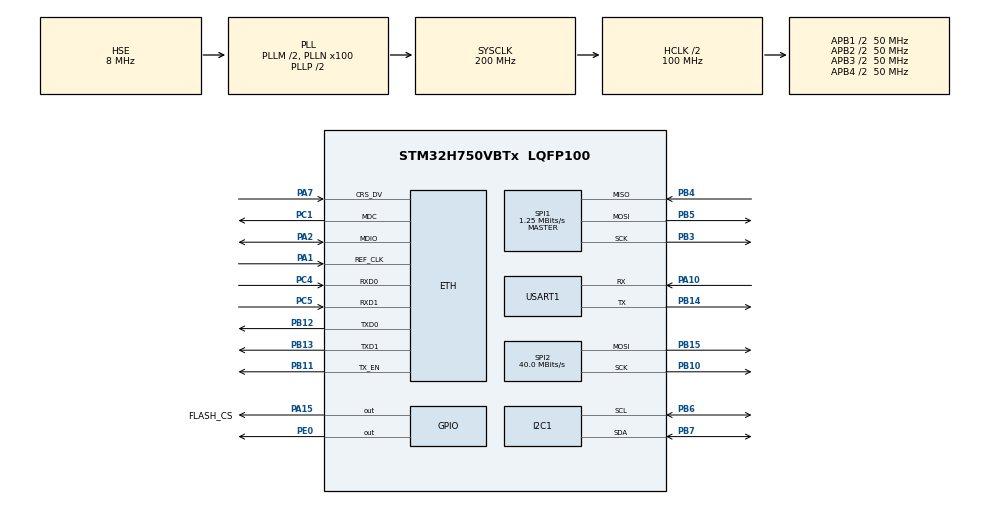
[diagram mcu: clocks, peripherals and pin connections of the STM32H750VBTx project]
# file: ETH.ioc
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CORTEX_M7.default_mode_Activation=1
ETH.MACAddr=00\:0C\:CD\:04\:03\:FF
ETH.MediaInterface=HAL_ETH_RMII_MODE
I2C1.Timing=0x00C0EAFF
Mcu.Family=STM32H7
Mcu.Name=STM32H750VBTx
Mcu.Package=LQFP100
NVIC.PriorityGroup=NVIC_PRIORITYGROUP_4
PA1.GPIO_Speed=GPIO_SPEED_FREQ_VERY_HIGH
PA1.Mode=RMII
PA1.Signal=ETH_REF_CLK
PA10.Mode=Asynchronous
PA10.Signal=USART1_RX
PA13\ (JTMS/SWDIO).Mode=Serial_Wire
PA13\ (JTMS/SWDIO).Signal=DEBUG_JTMS-SWDIO
PA14\ (JTCK/SWCLK).Mode=Serial_Wire
PA14\ (JTCK/SWCLK).Signal=DEBUG_JTCK-SWCLK
PA15\ (JTDI).GPIO_Label=FLASH_CS
PA15\ (JTDI).Signal=GPIO_Output
PA2.GPIO_Speed=GPIO_SPEED_FREQ_VERY_HIGH
PA2.Mode=RMII
PA2.Signal=ETH_MDIO
PA7.GPIO_Speed=GPIO_SPEED_FREQ_VERY_HIGH
PA7.Mode=RMII
PA7.Signal=ETH_CRS_DV
PB10.Mode=TX_Only_Simplex_Unidirect_Master
PB10.Signal=SPI2_SCK
PB11.GPIO_Speed=GPIO_SPEED_FREQ_VERY_HIGH
PB11.Mode=RMII
PB11.Signal=ETH_TX_EN
PB12.GPIO_Speed=GPIO_SPEED_FREQ_VERY_HIGH
PB12.Mode=RMII
PB12.Signal=ETH_TXD0
PB13.GPIO_Speed=GPIO_SPEED_FREQ_VERY_HIGH
PB13.Mode=RMII
PB13.Signal=ETH_TXD1
PB14.Mode=Asynchronous
PB14.Signal=USART1_TX
PB15.Mode=TX_Only_Simplex_Unidirect_Master
PB15.Signal=SPI2_MOSI
PB3\ (JTDO/TRACESWO).Mode=Full_Duplex_Master
PB3\ (JTDO/TRACESWO).Signal=SPI1_SCK
PB4\ (NJTRST).Mode=Full_Duplex_Master
PB4\ (NJTRST).Signal=SPI1_MISO
PB5.Mode=Full_Duplex_Master
PB5.Signal=SPI1_MOSI
PB6.Mode=I2C
PB6.Signal=I2C1_SCL
PB7.Mode=I2C
PB7.Signal=I2C1_SDA
PC1.GPIO_Speed=GPIO_SPEED_FREQ_VERY_HIGH
PC1.Mode=RMII
PC1.Signal=ETH_MDC
PC4.GPIO_Speed=GPIO_SPEED_FREQ_VERY_HIGH
PC4.Mode=RMII
PC4.Signal=ETH_RXD0
PC5.GPIO_Speed=GPIO_SPEED_FREQ_VERY_HIGH
PC5.Mode=RMII
PC5.Signal=ETH_RXD1
PE0.Signal=GPIO_Output
PH0-OSC_IN\ (PH0).Mode=HSE-External-Oscillator
PH0-OSC_IN\ (PH0).Signal=RCC_OSC_IN
PH1-OSC_OUT\ (PH1).Mode=HSE-External-Oscillator
PH1-OSC_OUT\ (PH1).Signal=RCC_OSC_OUT
ProjectManager.HeapSize=0x5000
ProjectManager.StackSize=0x10000
ProjectManager.TargetToolchain=CMake
RCC.ADCFreq_Value=80000000
RCC.APB1Freq_Value=50000000
RCC.APB2Freq_Value=50000000
RCC.APB3Freq_Value=50000000
RCC.APB4Freq_Value=50000000
RCC.CortexFreq_Value=200000000
RCC.D1PPRE=RCC_APB3_DIV2
RCC.D2PPRE1=RCC_APB1_DIV2
RCC.D2PPRE2=RCC_APB2_DIV2
RCC.D3PPRE=RCC_APB4_DIV2
RCC.DIVM1=2
RCC.DIVM2=5
RCC.DIVN1=100
RCC.DIVN2=100
RCC.HCLKFreq_Value=100000000
RCC.HPRE=RCC_HCLK_DIV2
RCC.HSE_VALUE=8000000
RCC.PLLFRACN=0
RCC.PLLSourceVirtual=RCC_PLLSOURCE_HSE
RCC.SPI123CLockSelection=RCC_SPI123CLKSOURCE_PLL2
RCC.SYSCLKFreq_VALUE=200000000
RCC.SYSCLKSource=RCC_SYSCLKSOURCE_PLLCLK
RCC.USBFreq_Value=200000000
SPI1.BaudRatePrescaler=SPI_BAUDRATEPRESCALER_64
SPI1.CalculateBaudRate=1.25 MBits/s
SPI1.Direction=SPI_DIRECTION_2LINES
SPI1.Mode=SPI_MODE_MASTER
SPI1.VirtualType=VM_MASTER
SPI2.CalculateBaudRate=40.0 MBits/s
SPI2.Direction=SPI_DIRECTION_2LINES_TXONLY
SPI2.Mode=SPI_MODE_MASTER
SPI2.VirtualType=VM_MASTER
STMicroelectronics.X-CUBE-ALGOBUILD.1.4.0.LibraryCcDSPOoLibraryJjDSPOoLibrary=true
USART1.VirtualMode-Asynchronous=VM_ASYNC
VP_MEMORYMAP_VS_MEMORYMAP.Mode=CurAppReg
VP_STMicroelectronics.X-CUBE-ALGOBUILD_VS_DSPOoLibraryJjLibrary_1.4.0_1.4.0.Mode=DSPOoLibraryJjLibrary
board=custom

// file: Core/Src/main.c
/* USER CODE BEGIN Header */
/**
 ******************************************************************************
 * @file           : main.c
 * @brief          : Main program body
 ******************************************************************************
 * @attention
 *
 * Copyright (c) 2025 STMicroelectronics.
 * All rights reserved.
 *
 * This software is licensed under terms that can be found in the LICENSE file
 * in the root directory of this software component.
 * If no LICENSE file comes with this software, it is provided AS-IS.
 *
 ******************************************************************************
 */
/* USER CODE END Header */
#include "main.h"
#include "string.h"

/* USER CODE BEGIN Includes */
#include "lan8742.h"
#include "parseSV.h"
#include "fft.h"

#include <stdlib.h>
#include <stdio.h>
#include "inttypes.h"

#include <stdarg.h>
#include <stdbool.h>
#include <ctype.h>

/* USER CODE END Includes */

/* USER CODE BEGIN PTD */
typedef struct
{
  ETH_BufferTypeDef *AppBuff;
  uint8_t buffer[100] __ALIGNED(32);
} ETH_AppBuff;

/* USER CODE END PTD */

#if defined(__ICCARM__) /*!< IAR Compiler */
#pragma location = 0x30000000
ETH_DMADescTypeDef DMARxDscrTab[ETH_RX_DESC_CNT]; /* Ethernet Rx DMA Descriptors */
#pragma location = 0x30000080
ETH_DMADescTypeDef DMATxDscrTab[ETH_TX_DESC_CNT]; /* Ethernet Tx DMA Descriptors */

#elif defined(__CC_ARM) /* MDK ARM Compiler */

__attribute__((at(0x30000000))) ETH_DMADescTypeDef DMARxDscrTab[ETH_RX_DESC_CNT]; /* Ethernet Rx DMA Descriptors */
__attribute__((at(0x30000080))) ETH_DMADescTypeDef DMATxDscrTab[ETH_TX_DESC_CNT]; /* Ethernet Tx DMA Descriptors */

#elif defined(__GNUC__) /* GNU Compiler */

ETH_DMADescTypeDef DMARxDscrTab[ETH_RX_DESC_CNT] __attribute__((section(".RxDescripSection"))); /* Ethernet Rx DMA Descriptors */
ETH_DMADescTypeDef DMATxDscrTab[ETH_TX_DESC_CNT] __attribute__((section(".TxDescripSection"))); /* Ethernet Tx DMA Descriptors */
#endif

ETH_TxPacketConfig TxConfig;

ETH_HandleTypeDef heth;

I2C_HandleTypeDef hi2c1;

SPI_HandleTypeDef hspi1;
SPI_HandleTypeDef hspi2;

UART_HandleTypeDef huart1;

/* USER CODE BEGIN PV */

extern float sv[256];

/* USER CODE END PV */

void SystemClock_Config(void);
void PeriphCommonClock_Config(void);
static void MPU_Config(void);
static void MX_GPIO_Init(void);
static void MX_ETH_Init(void);
static void MX_I2C1_Init(void);
static void MX_SPI1_Init(void);
static void MX_SPI2_Init(void);
static void MX_USART1_UART_Init(void);
/* USER CODE BEGIN PFP */
int32_t ETH_PHY_INTERFACE_Init(void);
int32_t ETH_PHY_INTERFACE_DeInit(void);
int32_t ETH_PHY_INTERFACE_ReadReg(uint32_t DevAddr, uint32_t RegAddr, uint32_t *pRegVal);
int32_t ETH_PHY_INTERFACE_WriteReg(uint32_t DevAddr, uint32_t RegAddr, uint32_t RegVal);
int32_t ETH_PHY_INTERFACE_GetTick(void);
void ETH_StartLink();
/* USER CODE END PFP */

/* USER CODE BEGIN 0 */
lan8742_Object_t LAN8742;
lan8742_IOCtx_t LAN8742_IOCtx = {ETH_PHY_INTERFACE_Init,
                                 ETH_PHY_INTERFACE_DeInit,
                                 ETH_PHY_INTERFACE_WriteReg,
                                 ETH_PHY_INTERFACE_ReadReg,
                                 ETH_PHY_INTERFACE_GetTick};

void print_buf(int32_t *buf)
{
  printf("\n");
  for (int l = 64; l < 320; l++)
  {
    printf("%" PRId32 ", ", buf[l]);
  }
  printf("\n");
}

void start_timer(void) {
  CoreDebug->DEMCR |= CoreDebug_DEMCR_TRCENA_Msk;  // Включение DWT
  DWT->CYCCNT = 0;                                // Сброс счетчика циклов
  DWT->CTRL |= DWT_CTRL_CYCCNTENA_Msk;           // Запуск счетчика
}

uint32_t stop_timer(void) {
  DWT->CTRL &= ~DWT_CTRL_CYCCNTENA_Msk;  // Остановка счетчика
  return DWT->CYCCNT;                    // Возвращаем количество циклов
}

void convert_int32_float(int32_t *input, float *output, uint32_t length)
{
  for (uint32_t i = 0; i < length; i++)
  {
    output[i] = (float)input[i]; // Простое приведение типов
  }
}
/* USER CODE END 0 */

int main(void)
{

  /* USER CODE BEGIN 1 */
  __NOP();
  /* USER CODE END 1 */

  /* MPU Configuration--------------------------------------------------------*/
  MPU_Config();

  /* MCU Configuration--------------------------------------------------------*/

  /* Reset of all peripherals, Initializes the Flash interface and the Systick. */
  HAL_Init();

  /* Configure the system clock */
  SystemClock_Config();

  /* Configure the peripherals common clocks */
  PeriphCommonClock_Config();

  /* Initialize all configured peripherals */
  MX_GPIO_Init();
  MX_ETH_Init();
  MX_I2C1_Init();
  MX_SPI1_Init();
  MX_SPI2_Init();
  MX_USART1_UART_Init();
  /* USER CODE BEGIN 2 */
  int8_t *data = NULL;
  int32_t buf_A[320] = {0};
  int32_t buf_B[320] = {0};
  int32_t buf_C[320] = {0};
  int32_t buf_0[320] = {0};
/*
  int32_t volt_A[320] = {0};
  int32_t volt_B[320] = {0};
  int32_t volt_C[320] = {0};
  int32_t volt_0[320] = {0};
*/
  float cur_A[256];
  float cur_B[256];
  float cur_C[256];

  float harmonic_A[128] = {0};
  float harmonic_B[128] = {0};
  float harmonic_C[128] = {0};
  // float harmonic_0[128] = {0};

  int8_t i = 0;
  int8_t flag = 0;

  int16_t cntEror = 0;

  int8_t *pack = NULL;

  int16_t fsmpCnt = 0;
  int16_t lsmpCnt = 0;

  int32_t error = 0;

  int16_t len_pack = 0;

  uint32_t start, stop, cycles;
  float time_us = 0;
  printf("Start!\n");

  /* USER CODE END 2 */

  /* Infinite loop */
  while (1)
  {

    /* USER CODE BEGIN 3 */
    if(i == 1){
      start_timer();
    }
    pack = NULL;
    HAL_ETH_ReadData(&heth, (void **)&pack);
    len_pack = heth.RxDescList.RxDataLength;
    if (i < 40 && len_pack == 793 && pack != NULL)
    {
      if (i == 8)
      {
        fsmpCnt = get_value_int16(data, SMPCNT_ASDU_1);
      }
      else if (i == 39)
      {
        lsmpCnt = get_value_int16(data, SMPCNT_ASDU_8);
      }

      data = pack + 32;

      get_data_sv_256(buf_0, data, FB_CURRENT_0, i);
      get_data_sv_256(buf_A, data, FB_CURRENT_A, i);
      get_data_sv_256(buf_B, data, FB_CURRENT_B, i);
      get_data_sv_256(buf_C, data, FB_CURRENT_C, i);
      /*
            get_data_sv_256(volt_A, data, FB_VOLTAGE_A, i);
            get_data_sv_256(volt_B, data, FB_VOLTAGE_B, i);
            get_data_sv_256(volt_C, data, FB_VOLTAGE_C, i);
            get_data_sv_256(volt_0, data, FB_VOLTAGE_0, i);
      */

      if (buf_A[319] != 0)
      {
        flag = 1;
        stop = stop_timer();
        float time_us = (float)stop / (SystemCoreClock / 1000); // Перевод в микросекунды
        printf("Время выполнения приема: %.2f мс \r\n", time_us);

        i = 0;
      }
      else
      {
        flag = 0;
      }
      i++;
    }
    free(pack);
    // Если флаг поднят, переходим от приема к обработке
    if (flag == 1)
    {

      start_timer();

      fsmpCnt = reverse_bytes_16(fsmpCnt);
      lsmpCnt = reverse_bytes_16(lsmpCnt);
      // Проверяем были ли пропущены пакеты
      error = lsmpCnt - fsmpCnt;

      if (error == 255 || error == -12545)
      {
        cntEror--;
//        printf("\nOK. Count = %d\n", cntEror);
        __NOP();
      }
      else
      {
        cntEror++;
//        printf("\nLost pack!. Count = %d\n", cntEror);
      }

      // Производим реверс байт
      revers_bytes_buf(buf_0);
      revers_bytes_buf(buf_A);
      revers_bytes_buf(buf_B);
      revers_bytes_buf(buf_C);
      /*
            revers_bytes_buf(volt_0);
            revers_bytes_buf(volt_A);
            revers_bytes_buf(volt_B);
            revers_bytes_buf(volt_C);
      */

      convert_int32_float(&buf_A[64], cur_A, 256);
      convert_int32_float(&buf_B[64], cur_B, 256);
      convert_int32_float(&buf_C[64], cur_C, 256);

      computeFFT(cur_A, harmonic_A);
      computeFFT(cur_B, harmonic_B);
      computeFFT(cur_C, harmonic_C);
      //  computeFFT(&buf_0[64], harmonic_0);

      stop = stop_timer();

      time_us = (float)stop / (SystemCoreClock / 1000); // Перевод в микросекунды
      printf("Время выполнения обработки: %.2f мс \r\n", time_us);
      /*
            //Выводим в юарт

            print_buf(buf_a);
            print_buf(buf_B);
            print_buf(buf_C);
            print_buf(buf_0);
      */

      // Обнуляем буферы
      for (int j = 0; j < 320; j++)
      {
        buf_A[j] = 0;
      }
    }
  }
  /* USER CODE END 3 */
}

void SystemClock_Config(void)
{
  RCC_OscInitTypeDef RCC_OscInitStruct = {0};
  RCC_ClkInitTypeDef RCC_ClkInitStruct = {0};

  /** Supply configuration update enable
   */
  HAL_PWREx_ConfigSupply(PWR_LDO_SUPPLY);

  /** Configure the main internal regulator output voltage
   */
  __HAL_PWR_VOLTAGESCALING_CONFIG(PWR_REGULATOR_VOLTAGE_SCALE3);

  while (!__HAL_PWR_GET_FLAG(PWR_FLAG_VOSRDY))
  {
  }

  /** Initializes the RCC Oscillators according to the specified parameters
   * in the RCC_OscInitTypeDef structure.
   */
  RCC_OscInitStruct.OscillatorType = RCC_OSCILLATORTYPE_HSE;
  RCC_OscInitStruct.HSEState = RCC_HSE_ON;
  RCC_OscInitStruct.PLL.PLLState = RCC_PLL_ON;
  RCC_OscInitStruct.PLL.PLLSource = RCC_PLLSOURCE_HSE;
  RCC_OscInitStruct.PLL.PLLM = 2;
  RCC_OscInitStruct.PLL.PLLN = 100;
  RCC_OscInitStruct.PLL.PLLP = 2;
  RCC_OscInitStruct.PLL.PLLQ = 2;
  RCC_OscInitStruct.PLL.PLLR = 2;
  RCC_OscInitStruct.PLL.PLLRGE = RCC_PLL1VCIRANGE_2;
  RCC_OscInitStruct.PLL.PLLVCOSEL = RCC_PLL1VCOWIDE;
  RCC_OscInitStruct.PLL.PLLFRACN = 0;
  if (HAL_RCC_OscConfig(&RCC_OscInitStruct) != HAL_OK)
  {
    Error_Handler();
  }

  /** Initializes the CPU, AHB and APB buses clocks
   */
  RCC_ClkInitStruct.ClockType = RCC_CLOCKTYPE_HCLK | RCC_CLOCKTYPE_SYSCLK | RCC_CLOCKTYPE_PCLK1 | RCC_CLOCKTYPE_PCLK2 | RCC_CLOCKTYPE_D3PCLK1 | RCC_CLOCKTYPE_D1PCLK1;
  RCC_ClkInitStruct.SYSCLKSource = RCC_SYSCLKSOURCE_PLLCLK;
  RCC_ClkInitStruct.SYSCLKDivider = RCC_SYSCLK_DIV1;
  RCC_ClkInitStruct.AHBCLKDivider = RCC_HCLK_DIV2;
  RCC_ClkInitStruct.APB3CLKDivider = RCC_APB3_DIV2;
  RCC_ClkInitStruct.APB1CLKDivider = RCC_APB1_DIV2;
  RCC_ClkInitStruct.APB2CLKDivider = RCC_APB2_DIV2;
  RCC_ClkInitStruct.APB4CLKDivider = RCC_APB4_DIV2;

  if (HAL_RCC_ClockConfig(&RCC_ClkInitStruct, FLASH_LATENCY_2) != HAL_OK)
  {
    Error_Handler();
  }
}

void PeriphCommonClock_Config(void)
{
  RCC_PeriphCLKInitTypeDef PeriphClkInitStruct = {0};

  /** Initializes the peripherals clock
   */
  PeriphClkInitStruct.PeriphClockSelection = RCC_PERIPHCLK_SPI2 | RCC_PERIPHCLK_SPI1;
  PeriphClkInitStruct.PLL2.PLL2M = 5;
  PeriphClkInitStruct.PLL2.PLL2N = 100;
  PeriphClkInitStruct.PLL2.PLL2P = 2;
  PeriphClkInitStruct.PLL2.PLL2Q = 2;
  PeriphClkInitStruct.PLL2.PLL2R = 2;
  PeriphClkInitStruct.PLL2.PLL2RGE = RCC_PLL2VCIRANGE_0;
  PeriphClkInitStruct.PLL2.PLL2VCOSEL = RCC_PLL2VCOMEDIUM;
  PeriphClkInitStruct.PLL2.PLL2FRACN = 0;
  PeriphClkInitStruct.Spi123ClockSelection = RCC_SPI123CLKSOURCE_PLL2;
  if (HAL_RCCEx_PeriphCLKConfig(&PeriphClkInitStruct) != HAL_OK)
  {
    Error_Handler();
  }
}

static void MX_ETH_Init(void)
{

  static uint8_t MACAddr[6];

  heth.Instance = ETH;
  MACAddr[0] = 0x00;
  MACAddr[1] = 0x0C;
  MACAddr[2] = 0xCD;
  MACAddr[3] = 0x04;
  MACAddr[4] = 0x03;
  MACAddr[5] = 0xFF;
  heth.Init.MACAddr = &MACAddr[0];
  heth.Init.MediaInterface = HAL_ETH_RMII_MODE;
  heth.Init.TxDesc = DMATxDscrTab;
  heth.Init.RxDesc = DMARxDscrTab;
  heth.Init.RxBuffLen = 1524;

  /* USER CODE BEGIN MACADDRESS */
  MACAddr[0] = 0x01;
  /* USER CODE END MACADDRESS */

  if (HAL_ETH_Init(&heth) != HAL_OK)
  {
    Error_Handler();
  }

  memset(&TxConfig, 0, sizeof(ETH_TxPacketConfig));
  TxConfig.Attributes = ETH_TX_PACKETS_FEATURES_CSUM | ETH_TX_PACKETS_FEATURES_CRCPAD;
  TxConfig.ChecksumCtrl = ETH_CHECKSUM_IPHDR_PAYLOAD_INSERT_PHDR_CALC;
  TxConfig.CRCPadCtrl = ETH_CRC_PAD_INSERT;
  /* USER CODE BEGIN ETH_Init 2 */

  LAN8742_RegisterBusIO(&LAN8742, &LAN8742_IOCtx);

  /* Initialize the LAN8742 ETH PHY */
  LAN8742_Init(&LAN8742);

  /* Initialize link speed negotiation and start Ethernet peripheral */
  ETH_StartLink();

  /* USER CODE END ETH_Init 2 */
}

static void MX_I2C1_Init(void)
{

  hi2c1.Instance = I2C1;
  hi2c1.Init.Timing = 0x00C0EAFF;
  hi2c1.Init.OwnAddress1 = 0;
  hi2c1.Init.AddressingMode = I2C_ADDRESSINGMODE_7BIT;
  hi2c1.Init.DualAddressMode = I2C_DUALADDRESS_DISABLE;
  hi2c1.Init.OwnAddress2 = 0;
  hi2c1.Init.OwnAddress2Masks = I2C_OA2_NOMASK;
  hi2c1.Init.GeneralCallMode = I2C_GENERALCALL_DISABLE;
  hi2c1.Init.NoStretchMode = I2C_NOSTRETCH_DISABLE;
  if (HAL_I2C_Init(&hi2c1) != HAL_OK)
  {
    Error_Handler();
  }

  /** Configure Analogue filter
   */
  if (HAL_I2CEx_ConfigAnalogFilter(&hi2c1, I2C_ANALOGFILTER_ENABLE) != HAL_OK)
  {
    Error_Handler();
  }

  /** Configure Digital filter
   */
  if (HAL_I2CEx_ConfigDigitalFilter(&hi2c1, 0) != HAL_OK)
  {
    Error_Handler();
  }
}

static void MX_SPI1_Init(void)
{

  /* SPI1 parameter configuration*/
  hspi1.Instance = SPI1;
  hspi1.Init.Mode = SPI_MODE_MASTER;
  hspi1.Init.Direction = SPI_DIRECTION_2LINES;
  hspi1.Init.DataSize = SPI_DATASIZE_4BIT;
  hspi1.Init.CLKPolarity = SPI_POLARITY_LOW;
  hspi1.Init.CLKPhase = SPI_PHASE_1EDGE;
  hspi1.Init.NSS = SPI_NSS_SOFT;
  hspi1.Init.BaudRatePrescaler = SPI_BAUDRATEPRESCALER_64;
  hspi1.Init.FirstBit = SPI_FIRSTBIT_MSB;
  hspi1.Init.TIMode = SPI_TIMODE_DISABLE;
  hspi1.Init.CRCCalculation = SPI_CRCCALCULATION_DISABLE;
  hspi1.Init.CRCPolynomial = 0x0;
  hspi1.Init.NSSPMode = SPI_NSS_PULSE_ENABLE;
  hspi1.Init.NSSPolarity = SPI_NSS_POLARITY_LOW;
  hspi1.Init.FifoThreshold = SPI_FIFO_THRESHOLD_01DATA;
  hspi1.Init.TxCRCInitializationPattern = SPI_CRC_INITIALIZATION_ALL_ZERO_PATTERN;
  hspi1.Init.RxCRCInitializationPattern = SPI_CRC_INITIALIZATION_ALL_ZERO_PATTERN;
  hspi1.Init.MasterSSIdleness = SPI_MASTER_SS_IDLENESS_00CYCLE;
  hspi1.Init.MasterInterDataIdleness = SPI_MASTER_INTERDATA_IDLENESS_00CYCLE;
  hspi1.Init.MasterReceiverAutoSusp = SPI_MASTER_RX_AUTOSUSP_DISABLE;
  hspi1.Init.MasterKeepIOState = SPI_MASTER_KEEP_IO_STATE_DISABLE;
  hspi1.Init.IOSwap = SPI_IO_SWAP_DISABLE;
  if (HAL_SPI_Init(&hspi1) != HAL_OK)
  {
    Error_Handler();
  }
}

static void MX_SPI2_Init(void)
{

  /* SPI2 parameter configuration*/
  hspi2.Instance = SPI2;
  hspi2.Init.Mode = SPI_MODE_MASTER;
  hspi2.Init.Direction = SPI_DIRECTION_2LINES_TXONLY;
  hspi2.Init.DataSize = SPI_DATASIZE_4BIT;
  hspi2.Init.CLKPolarity = SPI_POLARITY_LOW;
  hspi2.Init.CLKPhase = SPI_PHASE_1EDGE;
  hspi2.Init.NSS = SPI_NSS_SOFT;
  hspi2.Init.BaudRatePrescaler = SPI_BAUDRATEPRESCALER_2;
  hspi2.Init.FirstBit = SPI_FIRSTBIT_MSB;
  hspi2.Init.TIMode = SPI_TIMODE_DISABLE;
  hspi2.Init.CRCCalculation = SPI_CRCCALCULATION_DISABLE;
  hspi2.Init.CRCPolynomial = 0x0;
  hspi2.Init.NSSPMode = SPI_NSS_PULSE_ENABLE;
  hspi2.Init.NSSPolarity = SPI_NSS_POLARITY_LOW;
  hspi2.Init.FifoThreshold = SPI_FIFO_THRESHOLD_01DATA;
  hspi2.Init.TxCRCInitializationPattern = SPI_CRC_INITIALIZATION_ALL_ZERO_PATTERN;
  hspi2.Init.RxCRCInitializationPattern = SPI_CRC_INITIALIZATION_ALL_ZERO_PATTERN;
  hspi2.Init.MasterSSIdleness = SPI_MASTER_SS_IDLENESS_00CYCLE;
  hspi2.Init.MasterInterDataIdleness = SPI_MASTER_INTERDATA_IDLENESS_00CYCLE;
  hspi2.Init.MasterReceiverAutoSusp = SPI_MASTER_RX_AUTOSUSP_DISABLE;
  hspi2.Init.MasterKeepIOState = SPI_MASTER_KEEP_IO_STATE_DISABLE;
  hspi2.Init.IOSwap = SPI_IO_SWAP_DISABLE;
  if (HAL_SPI_Init(&hspi2) != HAL_OK)
  {
    Error_Handler();
  }
}

static void MX_USART1_UART_Init(void)
{

  huart1.Instance = USART1;
  huart1.Init.BaudRate = 9600;
  huart1.Init.WordLength = UART_WORDLENGTH_8B;
  huart1.Init.StopBits = UART_STOPBITS_1;
  huart1.Init.Parity = UART_PARITY_NONE;
  huart1.Init.Mode = UART_MODE_TX_RX;
  huart1.Init.HwFlowCtl = UART_HWCONTROL_NONE;
  huart1.Init.OverSampling = UART_OVERSAMPLING_16;
  huart1.Init.OneBitSampling = UART_ONE_BIT_SAMPLE_DISABLE;
  huart1.Init.ClockPrescaler = UART_PRESCALER_DIV1;
  huart1.AdvancedInit.AdvFeatureInit = UART_ADVFEATURE_NO_INIT;
  if (HAL_UART_Init(&huart1) != HAL_OK)
  {
    Error_Handler();
  }
  if (HAL_UARTEx_SetTxFifoThreshold(&huart1, UART_TXFIFO_THRESHOLD_1_8) != HAL_OK)
  {
    Error_Handler();
  }
  if (HAL_UARTEx_SetRxFifoThreshold(&huart1, UART_RXFIFO_THRESHOLD_1_8) != HAL_OK)
  {
    Error_Handler();
  }
  if (HAL_UARTEx_DisableFifoMode(&huart1) != HAL_OK)
  {
    Error_Handler();
  }
}

static void MX_GPIO_Init(void)
{
  GPIO_InitTypeDef GPIO_InitStruct = {0};

  /* GPIO Ports Clock Enable */
  __HAL_RCC_GPIOH_CLK_ENABLE();
  __HAL_RCC_GPIOC_CLK_ENABLE();
  __HAL_RCC_GPIOA_CLK_ENABLE();
  __HAL_RCC_GPIOB_CLK_ENABLE();
  __HAL_RCC_GPIOE_CLK_ENABLE();

  /*Configure GPIO pin Output Level */
  HAL_GPIO_WritePin(FLASH_CS_GPIO_Port, FLASH_CS_Pin, GPIO_PIN_RESET);

  /*Configure GPIO pin Output Level */
  HAL_GPIO_WritePin(GPIOE, GPIO_PIN_0, GPIO_PIN_RESET);

  /*Configure GPIO pin : FLASH_CS_Pin */
  GPIO_InitStruct.Pin = FLASH_CS_Pin;
  GPIO_InitStruct.Mode = GPIO_MODE_OUTPUT_PP;
  GPIO_InitStruct.Pull = GPIO_NOPULL;
  GPIO_InitStruct.Speed = GPIO_SPEED_FREQ_LOW;
  HAL_GPIO_Init(FLASH_CS_GPIO_Port, &GPIO_InitStruct);

  /*Configure GPIO pin : PE0 */
  GPIO_InitStruct.Pin = GPIO_PIN_0;
  GPIO_InitStruct.Mode = GPIO_MODE_OUTPUT_PP;
  GPIO_InitStruct.Pull = GPIO_NOPULL;
  GPIO_InitStruct.Speed = GPIO_SPEED_FREQ_LOW;
  HAL_GPIO_Init(GPIOE, &GPIO_InitStruct);

}

/* USER CODE BEGIN 4 */
/*===============================PHY Functions===============================*/
int32_t ETH_PHY_INTERFACE_Init(void)
{
  /* Configure the MDIO Clock */
  HAL_ETH_SetMDIOClockRange(&heth);
  return 0;
}

int32_t ETH_PHY_INTERFACE_DeInit(void)
{
  return 0;
}

int32_t ETH_PHY_INTERFACE_ReadReg(uint32_t DevAddr, uint32_t RegAddr, uint32_t *pRegVal)
{
  if (HAL_ETH_ReadPHYRegister(&heth, DevAddr, RegAddr, pRegVal) != HAL_OK)
  {
    return -1;
  }

  return 0;
}
int32_t ETH_PHY_INTERFACE_WriteReg(uint32_t DevAddr, uint32_t RegAddr, uint32_t RegVal)
{
  if (HAL_ETH_WritePHYRegister(&heth, DevAddr, RegAddr, RegVal) != HAL_OK)
  {
    return -1;
  }

  return 0;
}

int32_t ETH_PHY_INTERFACE_GetTick(void)
{
  return HAL_GetTick();
}

/*===============================ETH Functions===============================*/

void ETH_StartLink()
{
  ETH_MACConfigTypeDef MACConf = {0};
  int32_t PHYLinkState = 0U;
  uint32_t linkchanged = 0U, speed = 0U, duplex = 0U;

  PHYLinkState = LAN8742_GetLinkState(&LAN8742);

  if (PHYLinkState <= LAN8742_STATUS_LINK_DOWN)
  {
    HAL_ETH_Stop(&heth);
  }
  else if (PHYLinkState > LAN8742_STATUS_LINK_DOWN)
  {
    switch (PHYLinkState)
    {
    case LAN8742_STATUS_100MBITS_FULLDUPLEX:
      duplex = ETH_FULLDUPLEX_MODE;
      speed = ETH_SPEED_100M;
      linkchanged = 1;
      break;
    case LAN8742_STATUS_100MBITS_HALFDUPLEX:
      duplex = ETH_HALFDUPLEX_MODE;
      speed = ETH_SPEED_100M;
      linkchanged = 1;
      break;
    case LAN8742_STATUS_10MBITS_FULLDUPLEX:
      duplex = ETH_FULLDUPLEX_MODE;
      speed = ETH_SPEED_10M;
      linkchanged = 1;
      break;
    case LAN8742_STATUS_10MBITS_HALFDUPLEX:
      duplex = ETH_HALFDUPLEX_MODE;
      speed = ETH_SPEED_10M;
      linkchanged = 1;
      break;
    default:
      break;
    }

    if (linkchanged)
    {
      /* Get MAC Config MAC */
      HAL_ETH_GetMACConfig(&heth, &MACConf);
      MACConf.DuplexMode = duplex;
      MACConf.Speed = speed;
      MACConf.DropTCPIPChecksumErrorPacket = DISABLE; // changed
      MACConf.ForwardRxErrorPacket = ENABLE;          // FEP Bit
      MACConf.ForwardRxUndersizedGoodPacket = ENABLE; // FUP Bit
      MACConf.LoopbackMode = DISABLE;
      HAL_ETH_SetMACConfig(&heth, &MACConf);
      HAL_ETH_Start_IT(&heth);
    }
  }
}

void HAL_ETH_RxAllocateCallback(uint8_t **buff)
{

  ETH_BufferTypeDef *p = malloc(900);
  if (p)
  {
    *buff = (uint8_t *)p + offsetof(ETH_AppBuff, buffer);

    p->next = NULL;
    p->len = 900;
  }
  else
  {
    *buff = NULL;
  }
}

void HAL_ETH_RxLinkCallback(void **pStart, void **pEnd, uint8_t *buff, uint16_t Length)
{
  ETH_BufferTypeDef **ppStart = (ETH_BufferTypeDef **)pStart;
  ETH_BufferTypeDef **ppEnd = (ETH_BufferTypeDef **)pEnd;
  ETH_BufferTypeDef *p = NULL;

  p = (ETH_BufferTypeDef *)(buff - offsetof(ETH_AppBuff, buffer));
  p->next = NULL;
  p->len = 900;

  /* Chain the buffer. */
  if (!*ppStart)
  {
    /* The first buffer of the packet. */
    *ppStart = p;
  }
  else
  {
    /* Chain the buffer to the end of the packet. */
    (*ppEnd)->next = p;
  }
  *ppEnd = p;
}

int __io_putchar(int ch)
{
  /* Place your implementation of fputc here */
  /* e.g. write a character to the USART3 and Loop until the end of transmission */
  HAL_UART_Transmit(&huart1, (uint8_t *)&ch, 1, 0xFFFF);

  return ch;
}
/* USER CODE END 4 */

/* MPU Configuration */

void MPU_Config(void)
{
  MPU_Region_InitTypeDef MPU_InitStruct = {0};

  /* Disables the MPU */
  HAL_MPU_Disable();

  /** Initializes and configures the Region and the memory to be protected
   */
  MPU_InitStruct.Enable = MPU_REGION_ENABLE;
  MPU_InitStruct.Number = MPU_REGION_NUMBER0;
  MPU_InitStruct.BaseAddress = 0x0;
  MPU_InitStruct.Size = MPU_REGION_SIZE_4GB;
  MPU_InitStruct.SubRegionDisable = 0x87;
  MPU_InitStruct.TypeExtField = MPU_TEX_LEVEL0;
  MPU_InitStruct.AccessPermission = MPU_REGION_NO_ACCESS;
  MPU_InitStruct.DisableExec = MPU_INSTRUCTION_ACCESS_DISABLE;
  MPU_InitStruct.IsShareable = MPU_ACCESS_SHAREABLE;
  MPU_InitStruct.IsCacheable = MPU_ACCESS_NOT_CACHEABLE;
  MPU_InitStruct.IsBufferable = MPU_ACCESS_NOT_BUFFERABLE;

  HAL_MPU_ConfigRegion(&MPU_InitStruct);
  /* Enables the MPU */
  HAL_MPU_Enable(MPU_PRIVILEGED_DEFAULT);
}

void Error_Handler(void)
{
  __disable_irq();
  while (1)
  {
  }
}
